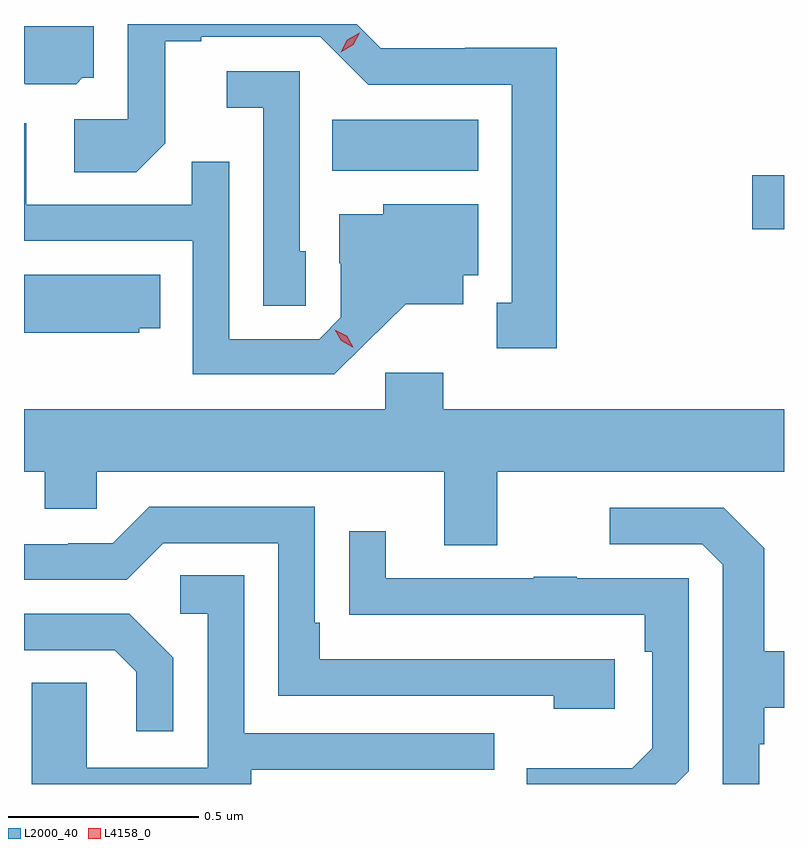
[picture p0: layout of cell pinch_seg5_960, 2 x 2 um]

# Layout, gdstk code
import gdstk
lib = gdstk.Library(unit=1e-6, precision=1e-09)
def R(c, l, rs):  # rectangles x0, y0, x1, y1
    for r in rs: c.add(gdstk.rectangle(r[:2], r[2:], *l))
def P(c, l, *ps):  # polygons
    for p in ps: c.add(gdstk.Polygon(p, *l))
L2000_40 = (2000, 40)
L4158_0 = (4158, 0)

pinch_seg5_960 = lib.new_cell('pinch_seg5_960')
R(pinch_seg5_960, L2000_40, [(677.934,906.682,678.017,906.824), (676.828,906.836,677.212,906.97)])
P(pinch_seg5_960, L2000_40, [(677.419,907.16),(677.178,907.16),(677.178,907.158),(676.956,907.158),(676.892,907.222),(676.29,907.222),(676.29,906.972),(676.149,906.972),(676.149,906.832),(676.313,906.832),(676.389,906.908),(676.389,907.176),(676.483,907.176),(676.483,907.188),(676.797,907.188),(676.923,907.062),(677.3,907.062),(677.3,906.489),(677.261,906.489),(677.261,906.369),(677.419,906.369)],
  [(676.17,907.08),(676.201,907.08),(676.201,907.216),(676.017,907.216),(676.017,907.065),(676.02,907.065),(676.02,907.064),(676.154,907.064)],
  [(676.758,906.624),(676.743,906.624),(676.743,907.098),(676.551,907.098),(676.551,907.001),(676.647,907.001),(676.647,906.481),(676.758,906.481)],
  [(676.918,906.383),(677.021,906.485),(677.173,906.485),(677.173,906.561),(677.212,906.561),(677.212,906.748),(676.962,906.748),(676.962,906.721),(676.847,906.721),(676.847,906.592),(676.851,906.592),(676.851,906.45),(676.794,906.393),(676.557,906.393),(676.557,906.86),(676.459,906.86),(676.459,906.747),(676.023,906.747),(676.023,906.961),(676.017,906.961),(676.017,906.651),(676.461,906.651),(676.461,906.3),(676.834,906.3)],
  [(676.32,906.422),(676.376,906.422),(676.376,906.562),(676.017,906.562),(676.017,906.41),(676.32,906.41)],
  [(677.263,906.044),(678.017,906.044),(678.017,906.208),(677.12,906.208),(677.12,906.304),(676.968,906.304),(676.968,906.208),(676.017,906.208),(676.017,906.044),(676.071,906.044),(676.071,905.946),(676.209,905.946),(676.209,906.044),(677.123,906.044),(677.123,905.85),(677.263,905.85)],
  [(677.572,905.55),(676.795,905.55),(676.795,905.647),(676.782,905.647),(676.782,905.952),(676.347,905.952),(676.251,905.856),(676.133,905.856),(676.133,905.853),(676.017,905.853),(676.017,905.76),(676.287,905.76),(676.383,905.856),(676.686,905.856),(676.686,905.454),(677.411,905.454),(677.411,905.42),(677.572,905.42)],
  [(677.952,905.327),(677.965,905.327),(677.965,905.423),(678.017,905.423),(678.017,905.571),(677.965,905.571),(677.965,905.843),(677.859,905.949),(677.559,905.949),(677.559,905.853),(677.802,905.853),(677.856,905.799),(677.856,905.222),(677.952,905.222)],
  [(677.766,905.256),(677.766,905.763),(677.471,905.763),(677.471,905.768),(677.359,905.768),(677.359,905.763),(676.969,905.763),(676.969,905.887),(676.873,905.887),(676.873,905.668),(676.975,905.668),(676.975,905.667),(677.65,905.667),(677.65,905.57),(677.67,905.57),(677.67,905.316),(677.617,905.263),(677.34,905.263),(677.34,905.222),(677.732,905.222)],
  [(676.615,905.259),(677.255,905.259),(677.255,905.355),(676.596,905.355),(676.596,905.771),(676.428,905.771),(676.428,905.67),(676.5,905.67),(676.5,905.265),(676.182,905.265),(676.182,905.489),(676.037,905.489),(676.037,905.222),(676.615,905.222)],
  [(676.41,905.554),(676.294,905.67),(676.017,905.67),(676.017,905.574),(676.256,905.574),(676.313,905.517),(676.313,905.361),(676.41,905.361)])
P(pinch_seg5_960, L4158_0, [(676.851,907.148),(676.851,907.148),(676.868,907.18),(676.9,907.199),(676.9,907.199),(676.9,907.199),(676.883,907.167),(676.851,907.148)],
  [(676.882,906.372),(676.852,906.388),(676.835,906.417),(676.835,906.418),(676.835,906.418),(676.866,906.402),(676.883,906.372),(676.883,906.372)])

lib.write_gds('pinch_seg5_960.gds')
